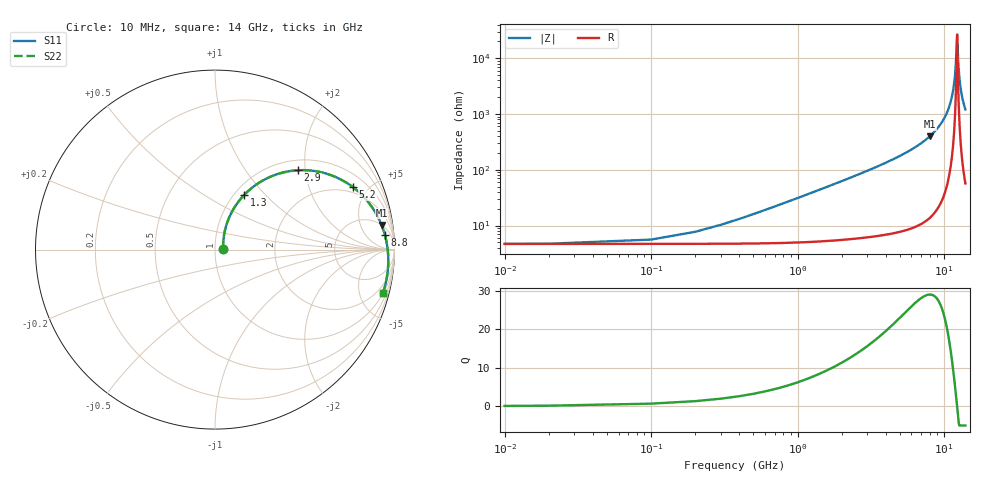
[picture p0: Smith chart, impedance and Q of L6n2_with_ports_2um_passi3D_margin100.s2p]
#  GHZ S DB R 50.0
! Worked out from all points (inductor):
!   142 points, 10 MHz to 14 GHz, reference 50 ohm
!   read as one part in series: L = 4.86 nH near 500 MHz
!   highest Q = 28.9 at 8 GHz (marker M1), where L = 7.9 nH
!   self-resonance near 12.2 GHz
!   S11 on the Smith chart (normalised r, x): 10 MHz: 1.09, +0.01; 1.3 GHz: 1.11, +0.77; 2.9 GHz: 1.22, +1.82; 5.2 GHz: 1.66, +4.00; 8.8 GHz: 10, +17; 14 GHz: 1.05, -7.68
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0.01  -26.97 3.3  -0.40 -0.2  -0.40 -0.2  -26.97 3.3
0.4  -18.68 62.1  -0.49 -7.1  -0.49 -7.1  -18.68 62.1
0.6  -15.47 65.8  -0.58 -10.6  -0.58 -10.6  -15.47 65.8
1.3  -9.26 61.9  -1.08 -21.8  -1.08 -21.8  -9.26 61.9
2.4  -4.98 49.2  -2.33 -37.1  -2.33 -37.1  -4.98 49.2
2.9  -3.89 43.8  -3.02 -43.0  -3.02 -43.0  -3.90 43.8
4.7  -1.79 27.8  -5.88 -59.9  -5.88 -59.9  -1.79 27.8
5.2  -1.47 24.3  -6.75 -63.6  -6.75 -63.6  -1.47 24.2
7.1  -0.74 12.9  -10.41 -75.2  -10.41 -75.2  -0.74 12.9
8  -0.56 8.5  -12.45 -79.7  -12.45 -79.7  -0.56 8.5
8.8  -0.44 4.8  -14.54 -83.2  -14.54 -83.2  -0.44 4.8
9.4  -0.38 2.3  -16.39 -85.6  -16.39 -85.6  -0.38 2.3
10.8  -0.29 -3.3  -22.56 -89.9  -22.56 -89.9  -0.29 -3.3
11.3  -0.27 -5.1  -26.24 -90.4  -26.24 -90.4  -0.28 -5.1
11.7  -0.27 -6.6  -30.79 -89.0  -30.79 -89.0  -0.27 -6.6
12  -0.26 -7.7  -36.84 -82.8  -36.84 -82.8  -0.27 -7.7
12.3  -0.26 -8.7  -48.80 0.3  -48.80 0.3  -0.26 -8.7
12.5  -0.26 -9.4  -39.42 61.3  -39.42 61.3  -0.27 -9.4
12.6  -0.27 -9.8  -36.35 66.9  -36.35 66.9  -0.27 -9.8
12.8  -0.27 -10.5  -32.23 71.4  -32.23 71.4  -0.27 -10.5
13.3  -0.28 -12.2  -26.48 73.7  -26.48 73.7  -0.28 -12.2
14  -0.30 -14.6  -22.05 72.9  -22.05 72.9  -0.30 -14.6
